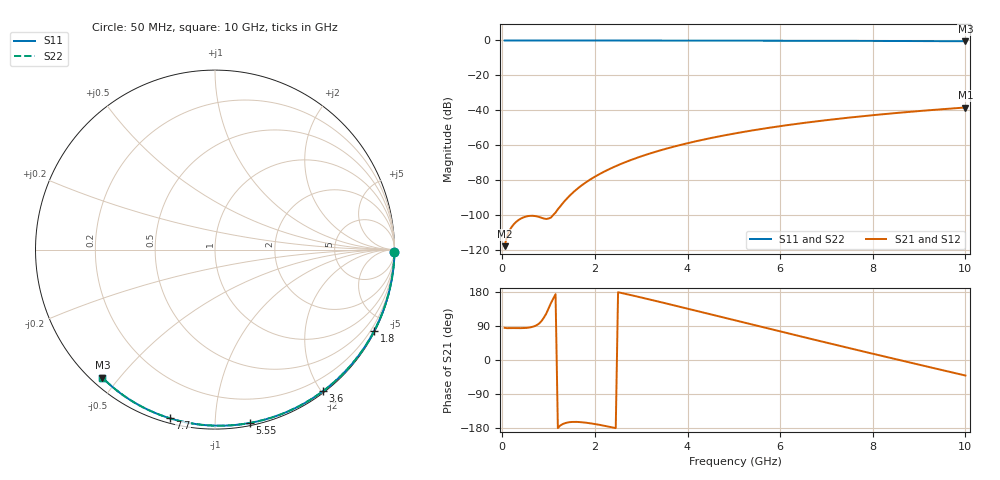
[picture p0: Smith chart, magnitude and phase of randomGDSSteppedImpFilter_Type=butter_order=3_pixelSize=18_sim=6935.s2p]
! freq	dB(S11)	phase(S11)	dB(S12)	phase(S12)
!  dB(S21)	phase(S21)	dB(S22)	phase(S22)
!S-par simulation data
#  GHz  S  DB  R 50
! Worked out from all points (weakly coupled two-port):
!   200 points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, 50 MHz to 10 GHz, reference 50 ohm
!   highest |S21| = -38.42 dB at 10 GHz (marker M1); lowest = -117.9 dB at 50 MHz (marker M2)
!   lowest |S11| = -0.4 dB at 10 GHz (marker M3), VSWR 39.09, Z = 1.54 - j22.6 ohm
!   |S11| at or under -10 dB: nowhere
!   |S22| runs from -0.4 to 0.0 dB; largest |S21 - S12| = 0
!   S11 on the Smith chart (normalised r, x): 50 MHz: open; 1.8 GHz: 0.04, -4.18; 3.6 GHz: 0.02, -2.02; 5.55 GHz: 0.02, -1.22; 7.7 GHz: 0.02, -0.77; 10 GHz: 0.03, -0.45
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0.05  -0.00 -0.8  -117.88 85.0  -117.88 85.0  -0.00 -0.8
0.9  -0.02 -13.6  -102.05 112.3  -102.05 112.3  -0.02 -13.6
1.75  -0.03 -26.2  -82.34 -164.6  -82.34 -164.6  -0.03 -26.2
1.8  -0.03 -26.9  -81.41 -165.3  -81.41 -165.3  -0.03 -26.9
1.85  -0.04 -27.6  -80.52 -166.1  -80.52 -166.1  -0.04 -27.6
1.9  -0.04 -28.4  -79.67 -167.0  -79.67 -167.0  -0.04 -28.4
2.05  -0.04 -30.6  -77.30 -170.0  -77.30 -170.0  -0.04 -30.6
2.25  -0.04 -33.5  -74.50 -174.7  -74.50 -174.7  -0.04 -33.5
2.45  -0.05 -36.4  -72.03 -179.8  -72.03 -179.8  -0.05 -36.4
2.65  -0.05 -39.2  -69.81 174.8  -69.81 174.8  -0.05 -39.2
3  -0.06 -44.2  -66.40 165.0  -66.40 165.0  -0.06 -44.2
3.4  -0.07 -49.8  -63.07 153.3  -63.07 153.3  -0.07 -49.8
3.6  -0.07 -52.6  -61.58 147.4  -61.58 147.4  -0.07 -52.6
4.3  -0.09 -62.2  -57.07 126.5  -57.07 126.5  -0.09 -62.2
5.05  -0.11 -72.1  -53.14 103.9  -53.14 103.9  -0.11 -72.1
5.55  -0.13 -78.6  -50.91 88.9  -50.91 88.9  -0.13 -78.6
6.1  -0.15 -85.6  -48.73 72.5  -48.73 72.5  -0.15 -85.6
6.7  -0.18 -93.0  -46.63 54.7  -46.63 54.7  -0.18 -93.0
7.7  -0.24 -105.0  -43.63 25.3  -43.63 25.3  -0.24 -105.0
8.35  -0.29 -112.6  -41.95 6.4  -41.95 6.4  -0.29 -112.5
9.15  -0.36 -121.7  -40.12 -16.6  -40.12 -16.6  -0.36 -121.7
10  -0.44 -131.3  -38.42 -41.0  -38.42 -41.0  -0.44 -131.3
